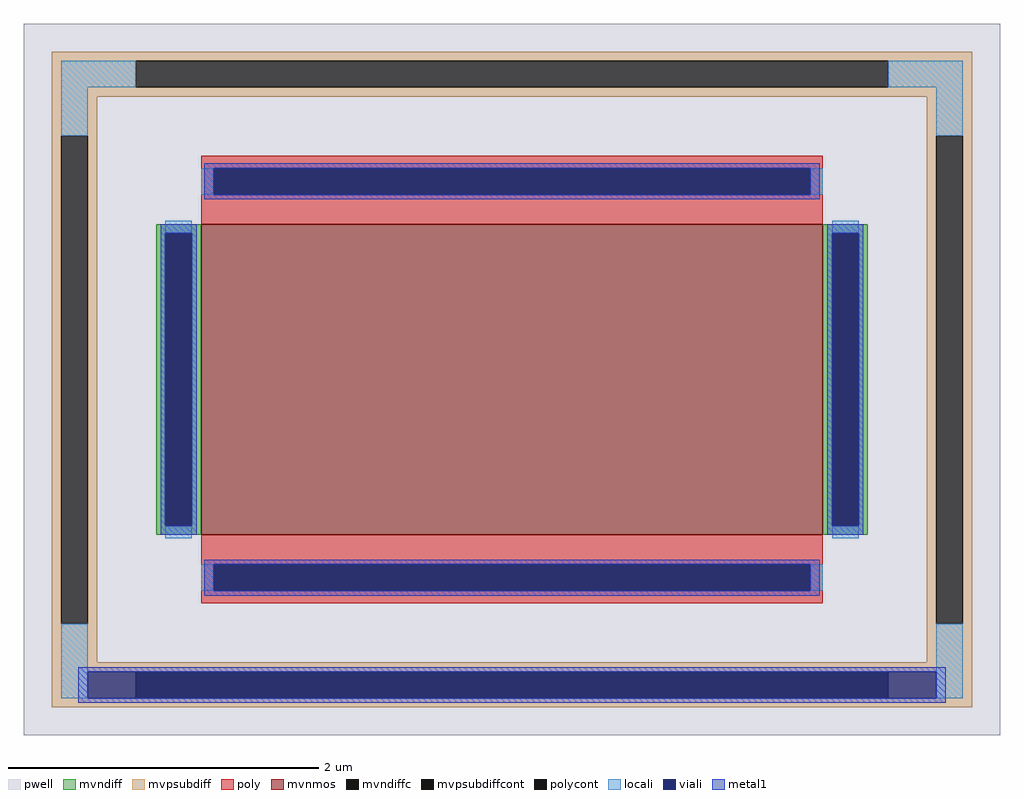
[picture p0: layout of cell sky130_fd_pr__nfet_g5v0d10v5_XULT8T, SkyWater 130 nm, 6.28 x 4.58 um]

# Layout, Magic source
magic
tech sky130A
<< pwell >>
rect -314 -229 314 229
<< mvnmos >>
rect -200 -100 200 100
<< mvndiff >>
rect -229 94 -200 100
rect -229 -94 -223 94
rect -206 -94 -200 94
rect -229 -100 -200 -94
rect 200 94 229 100
rect 200 -94 206 94
rect 223 -94 229 94
rect 200 -100 229 -94
<< mvndiffc >>
rect -223 -94 -206 94
rect 206 -94 223 94
<< mvpsubdiff >>
rect -296 205 296 211
rect -296 188 -242 205
rect 242 188 296 205
rect -296 182 296 188
rect -296 157 -267 182
rect -296 -157 -290 157
rect -273 -157 -267 157
rect 267 157 296 182
rect -296 -182 -267 -157
rect 267 -157 273 157
rect 290 -157 296 157
rect 267 -182 296 -157
rect -296 -188 296 -182
rect -296 -205 -242 -188
rect 242 -205 296 -188
rect -296 -211 296 -205
<< mvpsubdiffcont >>
rect -242 188 242 205
rect -290 -157 -273 157
rect 273 -157 290 157
rect -242 -205 242 -188
<< poly >>
rect -200 136 200 144
rect -200 119 -192 136
rect 192 119 200 136
rect -200 100 200 119
rect -200 -119 200 -100
rect -200 -136 -192 -119
rect 192 -136 200 -119
rect -200 -144 200 -136
<< polycont >>
rect -192 119 192 136
rect -192 -136 192 -119
<< locali >>
rect -290 188 -242 205
rect 242 188 290 205
rect -290 157 -273 188
rect 273 157 290 188
rect -200 119 -192 136
rect 192 119 200 136
rect -223 94 -206 102
rect -223 -102 -206 -94
rect 206 94 223 102
rect 206 -102 223 -94
rect -200 -136 -192 -119
rect 192 -136 200 -119
rect -290 -205 -273 -157
rect 273 -205 290 -157
<< viali >>
rect -192 119 192 136
rect -223 -94 -206 94
rect 206 -94 223 94
rect -192 -136 192 -119
rect -273 -205 -242 -188
rect -242 -205 242 -188
rect 242 -205 273 -188
<< metal1 >>
rect -198 136 198 139
rect -198 119 -192 136
rect 192 119 198 136
rect -198 116 198 119
rect -226 94 -203 100
rect -226 -94 -223 94
rect -206 -94 -203 94
rect -226 -100 -203 -94
rect 203 94 226 100
rect 203 -94 206 94
rect 223 -94 226 94
rect 203 -100 226 -94
rect -198 -119 198 -116
rect -198 -136 -192 -119
rect 192 -136 198 -119
rect -198 -139 198 -136
rect -279 -188 279 -185
rect -279 -205 -273 -188
rect 273 -205 279 -188
rect -279 -208 279 -205
<< properties >>
string FIXED_BBOX -281 -196 281 196
string gencell sky130_fd_pr__nfet_g5v0d10v5
string library sky130
string parameters w 2 l 4 m 1 nf 1 diffcov 100 polycov 100 guard 1 glc 1 grc 1 gtc 1 gbc 1 tbcov 100 rlcov 100 topc 1 botc 1 poverlap 0 doverlap 1 lmin 0.50 wmin 0.42 compatible {sky130_fd_pr__nfet_01v8 sky130_fd_pr__nfet_01v8_lvt  sky130_fd_bs_flash__special_sonosfet_star  sky130_fd_pr__nfet_g5v0d10v5 sky130_fd_pr__nfet_05v0_nvt  sky130_fd_pr__nfet_03v3_nvt} full_metal 1 viasrc 100 viadrn 100 viagate 100 viagb 100 viagr 0 viagl 0 viagt 0
<< end >>
